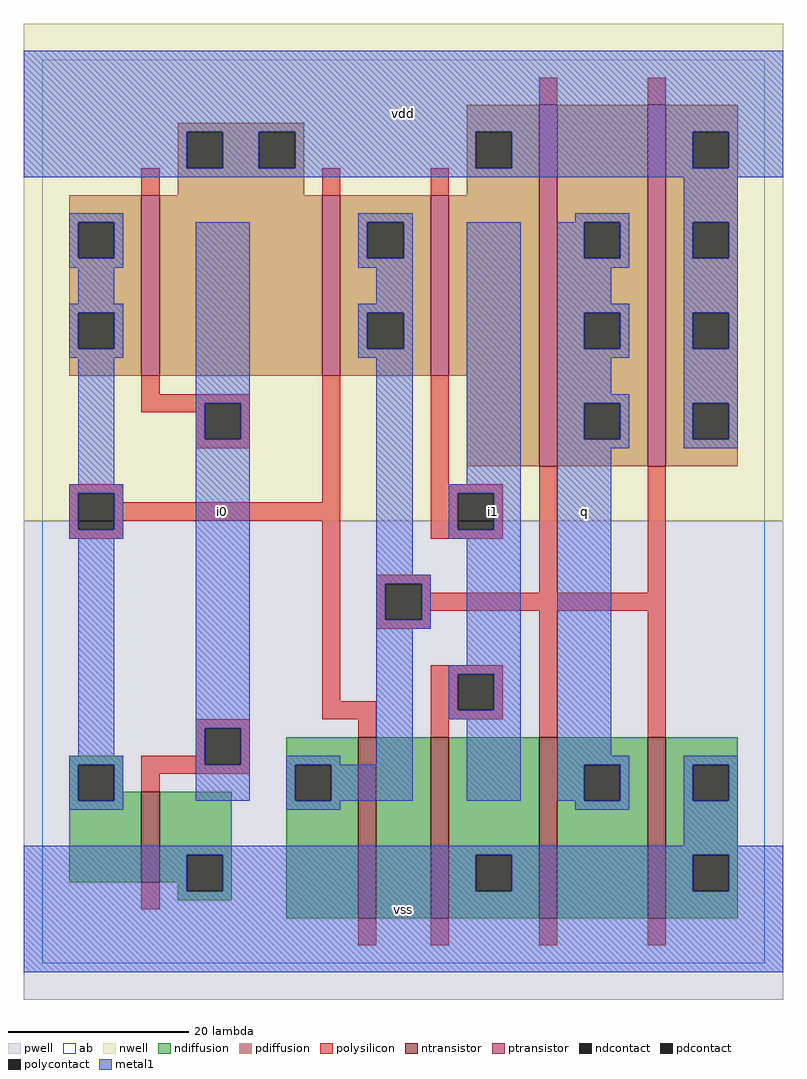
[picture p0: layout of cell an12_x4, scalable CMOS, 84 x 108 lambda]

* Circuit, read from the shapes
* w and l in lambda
.subckt an12_x4 i0 i1 q vdd vss
M1 vss i0 n1 VSUBS nfet w=10 l=2
M2 n2 n1 n3 VSUBS nfet w=20 l=2
M3 vss i1 n2 VSUBS nfet w=20 l=2
M4 q n3 vss VSUBS nfet w=20 l=2 m=2
M5 vdd i0 n1 n4 pfet w=20 l=2
M6 n3 n1 vdd n4 pfet w=20 l=2
M7 vdd i1 n3 n4 pfet w=20 l=2
M8 q n3 vdd n4 pfet w=40 l=2 m=2
.ends

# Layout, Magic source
magic
tech scmos
<< ab >>
rect 0 0 80 100
<< pwell >>
rect -2 -4 82 49
<< nwell >>
rect -2 49 82 104
<< polysilicon >>
rect 55 95 57 98
rect 67 95 69 98
rect 11 85 13 88
rect 31 85 33 88
rect 43 85 45 88
rect 11 63 13 65
rect 11 62 23 63
rect 11 61 18 62
rect 17 58 18 61
rect 22 58 23 62
rect 17 57 23 58
rect 3 52 9 53
rect 3 48 4 52
rect 8 51 9 52
rect 31 51 33 65
rect 8 49 33 51
rect 8 48 9 49
rect 3 47 9 48
rect 31 29 33 49
rect 43 53 45 65
rect 43 52 51 53
rect 43 48 46 52
rect 50 48 51 52
rect 43 47 51 48
rect 37 42 43 43
rect 37 38 38 42
rect 42 41 43 42
rect 55 41 57 55
rect 67 41 69 55
rect 42 39 69 41
rect 42 38 43 39
rect 37 37 43 38
rect 43 32 51 33
rect 31 27 37 29
rect 17 26 23 27
rect 17 23 18 26
rect 11 22 18 23
rect 22 22 23 26
rect 35 25 37 27
rect 43 28 46 32
rect 50 28 51 32
rect 43 27 51 28
rect 43 25 45 27
rect 55 25 57 39
rect 67 25 69 39
rect 11 21 23 22
rect 11 19 13 21
rect 11 6 13 9
rect 35 2 37 5
rect 43 2 45 5
rect 55 2 57 5
rect 67 2 69 5
<< ndiffusion >>
rect 3 22 9 23
rect 3 18 4 22
rect 8 19 9 22
rect 27 22 35 25
rect 8 18 11 19
rect 3 9 11 18
rect 13 12 21 19
rect 13 9 16 12
rect 15 8 16 9
rect 20 8 21 12
rect 15 7 21 8
rect 27 18 28 22
rect 32 18 35 22
rect 27 5 35 18
rect 37 5 43 25
rect 45 12 55 25
rect 45 8 48 12
rect 52 8 55 12
rect 45 5 55 8
rect 57 22 67 25
rect 57 18 60 22
rect 64 18 67 22
rect 57 5 67 18
rect 69 22 77 25
rect 69 18 72 22
rect 76 18 77 22
rect 69 12 77 18
rect 69 8 72 12
rect 76 8 77 12
rect 69 5 77 8
<< pdiffusion >>
rect 15 92 29 93
rect 15 88 16 92
rect 20 88 24 92
rect 28 88 29 92
rect 47 92 55 95
rect 47 88 48 92
rect 52 88 55 92
rect 15 85 29 88
rect 47 85 55 88
rect 3 82 11 85
rect 3 78 4 82
rect 8 78 11 82
rect 3 72 11 78
rect 3 68 4 72
rect 8 68 11 72
rect 3 65 11 68
rect 13 65 31 85
rect 33 82 43 85
rect 33 78 36 82
rect 40 78 43 82
rect 33 72 43 78
rect 33 68 36 72
rect 40 68 43 72
rect 33 65 43 68
rect 45 65 55 85
rect 47 55 55 65
rect 57 82 67 95
rect 57 78 60 82
rect 64 78 67 82
rect 57 72 67 78
rect 57 68 60 72
rect 64 68 67 72
rect 57 62 67 68
rect 57 58 60 62
rect 64 58 67 62
rect 57 55 67 58
rect 69 92 77 95
rect 69 88 72 92
rect 76 88 77 92
rect 69 82 77 88
rect 69 78 72 82
rect 76 78 77 82
rect 69 72 77 78
rect 69 68 72 72
rect 76 68 77 72
rect 69 62 77 68
rect 69 58 72 62
rect 76 58 77 62
rect 69 55 77 58
<< metal1 >>
rect -2 92 82 101
rect -2 88 16 92
rect 20 88 24 92
rect 28 88 48 92
rect 52 88 72 92
rect 76 88 82 92
rect -2 87 82 88
rect 3 82 9 83
rect 35 82 41 83
rect 59 82 65 83
rect 3 78 4 82
rect 8 78 9 82
rect 3 77 9 78
rect 4 73 8 77
rect 3 72 9 73
rect 3 68 4 72
rect 8 68 9 72
rect 3 67 9 68
rect 4 53 8 67
rect 17 62 23 82
rect 35 78 36 82
rect 40 78 41 82
rect 35 77 41 78
rect 37 73 41 77
rect 35 72 41 73
rect 35 68 36 72
rect 40 68 41 72
rect 35 67 41 68
rect 17 58 18 62
rect 22 58 23 62
rect 3 52 9 53
rect 3 48 4 52
rect 8 48 9 52
rect 3 47 9 48
rect 4 23 8 47
rect 17 26 23 58
rect 3 22 9 23
rect 3 18 4 22
rect 8 18 9 22
rect 17 22 18 26
rect 22 22 23 26
rect 37 43 41 67
rect 47 53 53 82
rect 45 52 53 53
rect 45 48 46 52
rect 50 48 53 52
rect 45 47 53 48
rect 37 42 43 43
rect 37 38 38 42
rect 42 38 43 42
rect 37 37 43 38
rect 17 18 23 22
rect 27 22 33 23
rect 37 22 41 37
rect 47 33 53 47
rect 45 32 53 33
rect 45 28 46 32
rect 50 28 53 32
rect 45 27 53 28
rect 27 18 28 22
rect 32 18 41 22
rect 47 18 53 27
rect 57 78 60 82
rect 64 78 65 82
rect 57 77 65 78
rect 71 82 77 87
rect 71 78 72 82
rect 76 78 77 82
rect 57 73 63 77
rect 57 72 65 73
rect 57 68 60 72
rect 64 68 65 72
rect 57 67 65 68
rect 71 72 77 78
rect 71 68 72 72
rect 76 68 77 72
rect 57 63 63 67
rect 57 62 65 63
rect 57 58 60 62
rect 64 58 65 62
rect 57 57 65 58
rect 71 62 77 68
rect 71 58 72 62
rect 76 58 77 62
rect 71 57 77 58
rect 57 23 63 57
rect 57 22 65 23
rect 57 18 60 22
rect 64 18 65 22
rect 3 17 9 18
rect 27 17 33 18
rect 59 17 65 18
rect 71 22 77 23
rect 71 18 72 22
rect 76 18 77 22
rect 71 13 77 18
rect -2 12 82 13
rect -2 8 16 12
rect 20 8 48 12
rect 52 8 72 12
rect 76 8 82 12
rect -2 -1 82 8
<< ntransistor >>
rect 11 9 13 19
rect 35 5 37 25
rect 43 5 45 25
rect 55 5 57 25
rect 67 5 69 25
<< ptransistor >>
rect 11 65 13 85
rect 31 65 33 85
rect 43 65 45 85
rect 55 55 57 95
rect 67 55 69 95
<< polycontact >>
rect 18 58 22 62
rect 4 48 8 52
rect 46 48 50 52
rect 38 38 42 42
rect 18 22 22 26
rect 46 28 50 32
<< ndcontact >>
rect 4 18 8 22
rect 16 8 20 12
rect 28 18 32 22
rect 48 8 52 12
rect 60 18 64 22
rect 72 18 76 22
rect 72 8 76 12
<< pdcontact >>
rect 16 88 20 92
rect 24 88 28 92
rect 48 88 52 92
rect 4 78 8 82
rect 4 68 8 72
rect 36 78 40 82
rect 36 68 40 72
rect 60 78 64 82
rect 60 68 64 72
rect 60 58 64 62
rect 72 88 76 92
rect 72 78 76 82
rect 72 68 76 72
rect 72 58 76 62
<< labels >>
rlabel metal1 20 50 20 50 6 i0
rlabel metal1 20 50 20 50 6 i0
rlabel metal1 40 6 40 6 6 vss
rlabel metal1 40 6 40 6 6 vss
rlabel metal1 50 50 50 50 6 i1
rlabel metal1 60 50 60 50 6 q
rlabel metal1 50 50 50 50 6 i1
rlabel metal1 60 50 60 50 6 q
rlabel metal1 40 94 40 94 6 vdd
rlabel metal1 40 94 40 94 6 vdd
<< end >>
